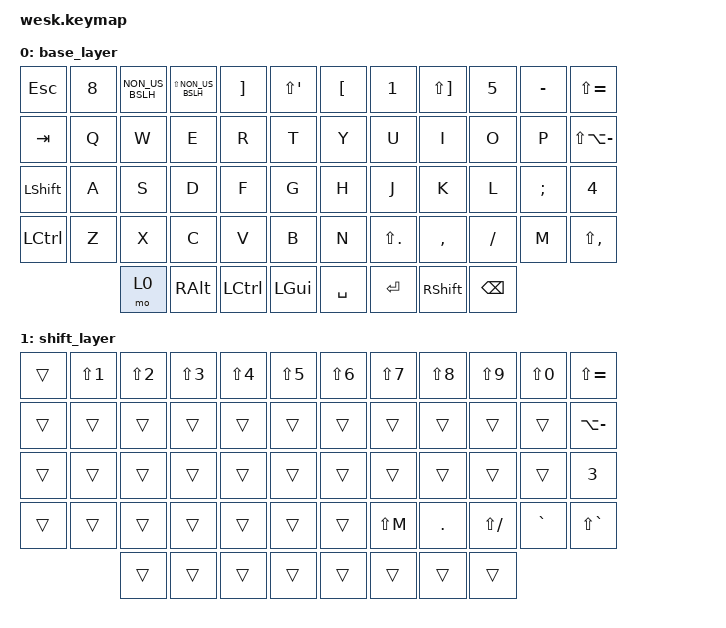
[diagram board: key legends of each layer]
/*
 * Mon clavier Corne
 * Généré par ZMK GUI
 */

#include <behaviors.dtsi>
#include <dt-bindings/zmk/keys.h>

/ {
    keymap {
        compatible = "zmk,keymap";

        base_layer {
            bindings = <
                &kp ESC &kp N8 &kp NON_US_BSLH &kp LS(NON_US_BSLH) &kp RBKT &kp LS(SQT) &kp LBKT &kp N1 &kp LS(RBKT) &kp N5 &kp MINUS &kp LS(EQUAL)
                &kp TAB &kp Q &kp W &kp E &kp R &kp T &kp Y &kp U &kp I &kp O &kp P &kp LS(LA(MINUS))
                &kp LSHFT &kp A &kp S &kp D &kp F &kp G &kp H &kp J &kp K &kp L &kp SEMI &kp N4
                &kp LCTRL &kp Z &kp X &kp C &kp V &kp B &kp N &kp LS(DOT) &kp COMMA &kp FSLH &kp M &kp LS(COMMA)
                &mo 0 &kp RALT &kp LCTRL &kp LGUI &kp SPACE &kp ENTER &kp RSHFT &kp BSPC
            >;
        };

        shift_layer {
            bindings = <
                &trans &kp LS(N1) &kp LS(N2) &kp LS(N3) &kp LS(N4) &kp LS(N5) &kp LS(N6) &kp LS(N7) &kp LS(N8) &kp LS(N9) &kp LS(N0) &kp LS(EQUAL)
                &trans &trans &trans &trans &trans &trans &trans &trans &trans &trans &trans &kp LA(MINUS)
                &trans &trans &trans &trans &trans &trans &trans &trans &trans &trans &trans &kp N3
                &trans &trans &trans &trans &trans &trans &trans &kp LS(M) &kp DOT &kp LS(FSLH) &kp GRAVE &kp LS(GRAVE)
                &trans &trans &trans &trans &trans &trans &trans &trans
            >;
        };
    };
};
